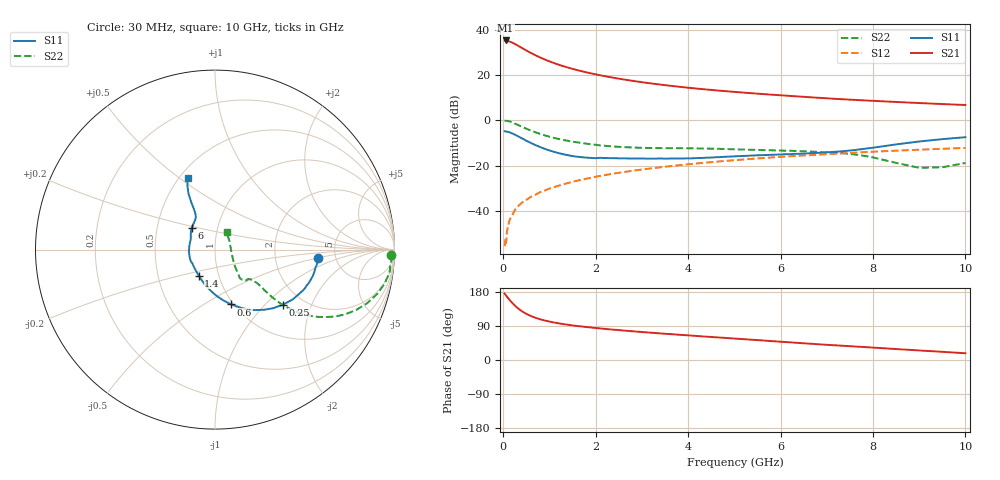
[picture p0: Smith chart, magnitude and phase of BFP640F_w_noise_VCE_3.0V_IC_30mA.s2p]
! Infineon Technologies  Discrete & RF Semiconductors
! BFP640F
! VCE =  3.0 V,  IC =  30 mA
! Common Emitter S-Parameters:  Apr 2013
# GHz  S  MA  R  50
!  f  S11  S21  S12  S22
! GHz  MAG  ANG  MAG  ANG  MAG  ANG  MAG  ANG
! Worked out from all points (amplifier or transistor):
!   99 points, 30 MHz to 10 GHz, reference 50 ohm
!   highest |S21| = 35.2 dB at 50 MHz (marker M1)
!   |S21| within 3 dB of that: start of sweep to 379 MHz
!   unconditionally stable (mu >= 1): 1.836 GHz to end of sweep
!   at 350 MHz: K = 0.48, MSG = 34.9 dB, |S12| = -37.3 dB
!   at 3.5 GHz: K = 1.06, MAG = 16.5 dB, |S12| = -20.4 dB
!   at 10 GHz: K = 1.04, MAG = 8.2 dB, |S12| = -12.1 dB
!   lowest NFmin = 1.02 dB at 450 MHz
!   S11 on the Smith chart (normalised r, x): 30 MHz: 3.65, -0.53; 250 MHz: 1.58, -1.28; 600 MHz: 0.97, -0.66; 1.4 GHz: 0.80, -0.24; 6 GHz: 0.75, +0.19; 10 GHz: 0.55, +0.54
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0.03  0.5777 -4.8  57.45 175.2  0.0017 96.6  0.9815 -1.9
0.05  0.5729 -8.7  57.67 172.1  0.0025 66.7  0.9853 -4.5
0.11  0.557 -18.5  55.83 162.6  0.0048 88.5  0.9643 -11.2
0.15  0.5403 -24.9  53.99 156.8  0.0068 80.3  0.9378 -15.2
0.2  0.5154 -32.4  51.34 150.0  0.0083 80.2  0.8979 -19.5
0.25  0.4869 -39.1  48.41 143.8  0.0106 78.8  0.8549 -23.2
0.3  0.459 -45.4  45.42 138.3  0.0122 76.7  0.8105 -26.4
0.4  0.4048 -56.4  39.7 129.0  0.0153 74.5  0.727 -31.1
0.5  0.3565 -65.7  34.74 121.8  0.0178 73.7  0.6564 -34.4
0.6  0.3182 -73.7  30.58 116.0  0.0208 72.8  0.5962 -36.6
0.7  0.2856 -81.0  27.16 111.3  0.0232 72.0  0.5461 -38.0
0.9  0.2361 -94.1  21.97 104.2  0.0286 71.8  0.4685 -39.5
1.1  0.2032 -105.8  18.32 98.9  0.0339 71.4  0.4119 -39.8
1.4  0.1713 -122.0  14.59 93.0  0.0418 70.8  0.3554 -39.4
1.7  0.1545 -136.8  12.11 88.4  0.0496 70.1  0.3171 -38.6
2.4  0.1471 -163.6  8.653 79.9  0.0677 67.3  0.2658 -39.6
3.4  0.1447 170.5  6.153 70.2  0.0929 62.8  0.2454 -42.7
5.1  0.1634 145.5  4.173 55.8  0.1354 54.0  0.2297 -47.6
6  0.1775 136.3  3.581 48.3  0.1574 48.9  0.217 -48.6
6.7  0.1904 127.8  3.21 42.5  0.1736 44.9  0.2051 -48.6
8.5  0.2964 116.6  2.551 28.9  0.2158 34.6  0.1161 -29.8
10  0.427 111.0  2.186 17.8  0.2479 25.8  0.1155 55.9
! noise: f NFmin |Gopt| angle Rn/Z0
0.45  1.02  0.21  -173  0.07
0.9  1.03  0.22  -168  0.07
1.5  1.05  0.23  -162  0.08
1.9  1.08  0.24  -156  0.08
2.4  1.11  0.24  -146  0.09
3.5  1.19  0.25  -137  0.1
5.5  1.38  0.26  -119  0.14
10  1.83  0.45  -83  0.47
